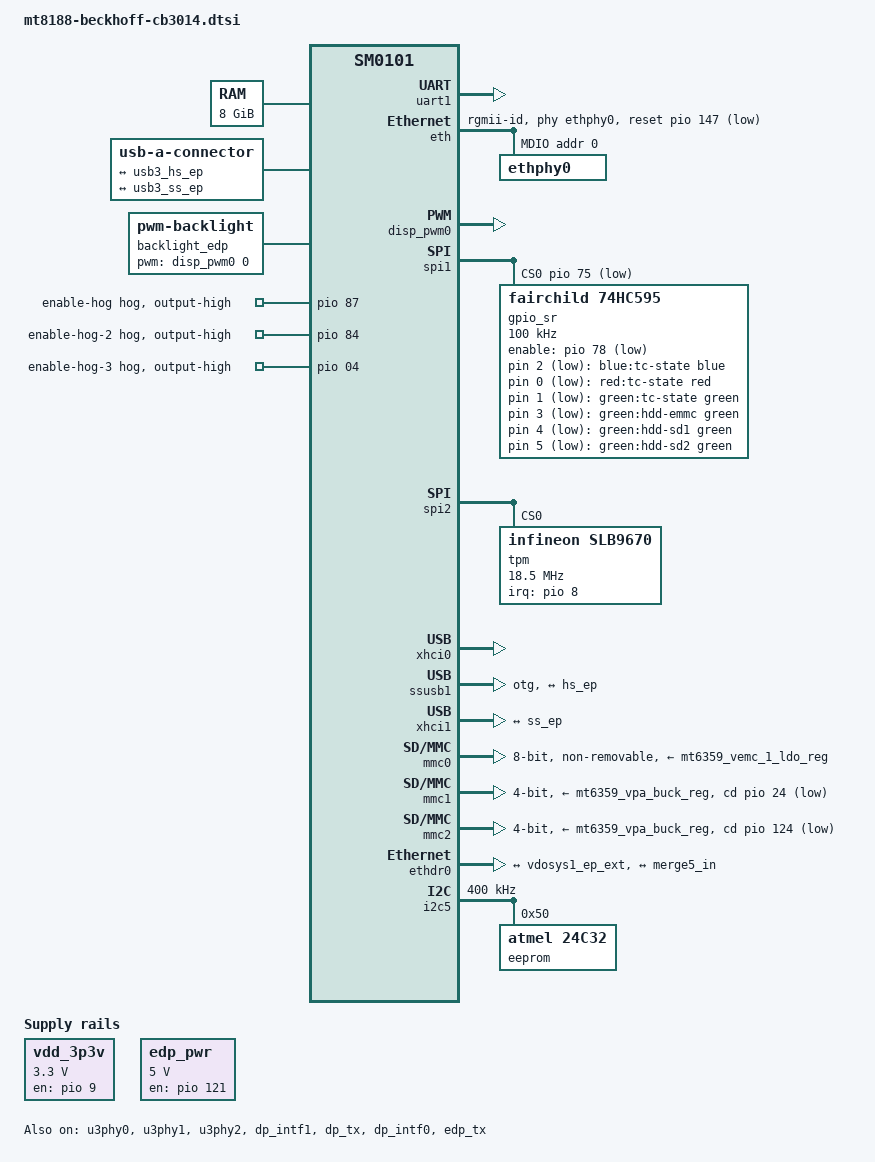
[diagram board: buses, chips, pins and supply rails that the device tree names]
// SPDX-License-Identifier: GPL-2.0 OR MIT
/*
 * Copyright (C) 2025 Beckhoff Automation GmbH & Co. KG
 */

#include "mt8188-beckhoff-sm0101.dtsi"

/*
 * SOM Interfaces used:
 *
 *		- UART 0 -> Debug
 *		- UART 1 -> RS232
 *		- SPI1 -> SN74AVC4T774 (LED gpio)
 *		- GPIO_TPM -> TPM
 *		- SPI2 -> TPM (SLB9672)
 *		- DP0 -> Display out
 *		- EDP -> EDP Port out
 *		- EMMC -> EMMC (MSDC 0)
 *		- SDIO 1 -> SD Card 1 (MSDC 1)
 *		- SDIO 2 -> SD Card 2 (MSDC 2)
 *		- GPIO 0 -> PC status (GPIO 00)
 *		- GPIO_1 -> PC on (GPIO 01)
 *		- GPIO_EXTPWR -> 3V3 enable (GPIO 09)
 *		- GPIO_PWRLED -> PWR LED (R/G/B)
 *		- USBP1 -> USB 3 Port
 *		- PCIE0 -> Realtek Phy
 *		- GBE0 -> B50212E
 */

/ {
	memory@40000000 {
		device_type = "memory";
		reg = <0 0x40000000 0x2 0x00000000>;
	};

	usb3_con: usb3-con {
		compatible = "usb-a-connector";
		label = "USB-A";
		//vbus-supply = <&usbp1_vbus>;
		ports {
			#address-cells = <1>;
			#size-cells = <0>;
			port@0 {
				reg = <0>;
				hs_ep: endpoint {
					remote-endpoint = <&usb3_hs_ep>;
				};
			};
			port@1 {
				reg = <1>;
				ss_ep: endpoint {
					remote-endpoint = <&usb3_ss_ep>;
				};
			};
		};
	};

	vdd_3p3v: vdd-3p3v {
		compatible = "regulator-fixed";
		regulator-name = "vdd-3.3V";
		regulator-min-microvolt = <3300000>;
		regulator-max-microvolt = <3300000>;
		regulator-boot-on;
		regulator-always-on;
		gpio = <&pio 9 GPIO_ACTIVE_HIGH>;
		enable-active-high;
	};

	edp_pwr: edp-pwr {
		compatible = "regulator-fixed";
		regulator-name = "edp-pwr";
		regulator-min-microvolt = <5000000>;
		regulator-max-microvolt = <5000000>;
		gpio = <&pio 121 GPIO_ACTIVE_HIGH>;
		enable-active-high;
	};

	backlight_edp: backlight-edp {
		compatible = "pwm-backlight";
		brightness-levels = <0 1023>;
		default-brightness-level = <576>;
		num-interpolated-steps = <1023>;
		//power-supply = <&reg_vsys>;
		pwms = <&disp_pwm0 0 500000>;
	};

	leds {
		compatible = "gpio-leds";
		status = "okay";
		tc-state-blue {
			function = LED_FUNCTION_STATUS;
			color = <LED_COLOR_ID_BLUE>;
			gpios = <&gpio_sr 2 GPIO_ACTIVE_LOW>;
			linux,default-trigger = "none";
			default-state = "off";
			label = "blue:tc-state";
		};

		tc-state-red {
			function = LED_FUNCTION_STATUS;
			color = <LED_COLOR_ID_RED>;
			gpios = <&gpio_sr 0 GPIO_ACTIVE_LOW>;
			linux,default-trigger = "none";
			default-state = "off";
			label = "red:tc-state";
		};

		tc-state-green {
			function = LED_FUNCTION_STATUS;
			color = <LED_COLOR_ID_GREEN>;
			gpios = <&gpio_sr 1 GPIO_ACTIVE_LOW>;
			linux,default-trigger = "none";
			default-state = "off";
			label = "green:tc-state";
		};

		hdd-emmc-green {
			function = LED_FUNCTION_DISK;
			color = <LED_COLOR_ID_GREEN>;
			gpios = <&gpio_sr 3 GPIO_ACTIVE_LOW>;
			linux,default-trigger = "mmc0";
			default-state = "off";
			label = "green:hdd-emmc";
		};

		hdd-sd1-green {
			function = LED_FUNCTION_DISK;
			color = <LED_COLOR_ID_GREEN>;
			gpios = <&gpio_sr 4 GPIO_ACTIVE_LOW>;
			linux,default-trigger = "mmc1";
			default-state = "off";
			label = "green:hdd-sd1";
		};
		hdd-sd2-green {
			function = LED_FUNCTION_DISK;
			color = <LED_COLOR_ID_GREEN>;
			gpios = <&gpio_sr 5 GPIO_ACTIVE_LOW>;
			linux,default-trigger = "mmc2";
			default-state = "off";
			label = "green:hdd-sd2";
		};
	};

};

&uart1 {
	pinctrl-0 = <&uart1_pins>;
	pinctrl-names = "default";
	status = "okay";
};

&pio {
	status = "okay";

	/* USBP1_EN */
	enable-hog {
		gpio-hog;
		gpios = <87 GPIO_ACTIVE_HIGH>;
		output-high;
	};

	/* USBP0_EN */
	enable-hog-2 {
		gpio-hog;
		gpios = <84 GPIO_ACTIVE_HIGH>;
		output-high;
	};

	/*
	* Disable the UPS by default, because in the current
	* hardware version it makes some problems like powering
	* off the network chip.
	*/
	enable-hog-3 {
		gpio-hog;
		gpios = <04 GPIO_ACTIVE_HIGH>;
		output-high;
	};
};


&eth {
	phy-mode ="rgmii-id";
	nvmem-cells = <&eth0_addr>;
	nvmem-cell-names = "mac-address";
	phy-handle = <&ethphy0>;
	pinctrl-names = "default", "sleep";
	pinctrl-0 = <&ethdefault>;
	pinctrl-1 = <&ethsleep>;
	mediatek,mac-wol;
	status = "okay";

	snps,reset-gpio = <&pio 147 GPIO_ACTIVE_LOW>;
	snps,reset-delays-us = <0 10000 10000>;

	mdio {
		compatible = "snps,dwmac-mdio";
		#address-cells = <1>;
		#size-cells = <0>;
		ethphy0: ethphy0@0 {
			reg = <0x0>;
			eee-broken-100tx;
			eee-broken-1000t;
		};
	};
};

&disp_pwm0 {
	pinctrl-names = "default";
	pinctrl-0 = <&disp_pwm0_pins>;
	status = "okay";
};

&spi1 {
	pinctrl-names = "default";
	pinctrl-0 = <&spi1_pins_default>;
	num-cs = <1>;
	status = "okay";
	cs-gpios = <&pio 75 GPIO_ACTIVE_LOW>;
	//mediatek,pad-select = <0>;
	gpio_sr: gpio_sr@0 {
			compatible = "fairchild,74hc595";
			reg = <0>;
			gpio-controller;
			#gpio-cells = <2>;
			registers-number = <1>;
			spi-max-frequency = <100000>;
			enable-gpios = <&pio 78 GPIO_ACTIVE_LOW>;
		};
};


&spi2 {
	pinctrl-names = "default";
	pinctrl-0 = <&spi2_pins_default>;
	status = "okay";
	label = "TPM";
	num-cs = <1>;
	tpm@0 {
		compatible = "infineon,slb9670", "tcg,tpm_tis-spi";
		reg = <0>;
		spi-max-frequency = <18500000>;
		interrupt-parent = <&pio>;
		interrupts = <8 IRQ_TYPE_LEVEL_LOW>;
		// reset-gpios = <&pio 10 GPIO_ACTIVE_LOW>; -> There is no Reset Logic in TPM Code
	};
};

&u3phy0 {
	status = "okay";
};

&u3phy1 {
	status = "okay";
};

&u3phy2 {
	status = "okay";
};


&xhci0 {
	status = "okay";
};

// USB Port 1 -> USB 3
&ssusb1 {
	dr_mode = "otg";
	usb-role-switch;
	wakeup-source;
	vusb33-supply = <&mt6359_vusb_ldo_reg>;
	status = "okay";

	port {
		usb3_hs_ep: endpoint {
			remote-endpoint = <&hs_ep>;
		};
	};
};

&xhci1 {
	status = "okay";
	vusb33-supply = <&mt6359_vusb_ldo_reg>;
	#address-cells = <1>;
	#size-cells = <0>;

	port {
		usb3_ss_ep: endpoint {
			remote-endpoint = <&ss_ep>;
		};
	};
};

&pio {

	dp_tx_hpd: dp-tx-hpd-pins {
		pins-dp-tx-hpd {
			pinmux = <PINMUX_GPIO46__FUNC_I0_DP_TX_HPD>;
		};
	};

	edp_tx_hpd: edp-tx-hpd-pins {
		pins-edp-tx-hpd {
			pinmux = <PINMUX_GPIO17__FUNC_I0_EDP_TX_HPD>,
			<PINMUX_GPIO26__FUNC_B_GPIO26>,
			<PINMUX_GPIO28__FUNC_B_GPIO28>,
			<PINMUX_GPIO45__FUNC_B_GPIO45>,
			<PINMUX_GPIO51__FUNC_B_GPIO51>
			;
		};
	};

	disp_pwm0_pins: disp-pwm0-pins {
		pins-pwm {
			pinmux = <PINMUX_GPIO29__FUNC_O_DISP_PWM0>;
		};
	};

	spi1_pins_default: spi1-default-pins {
		pins-bus {
			pinmux = <PINMUX_GPIO75__FUNC_B_GPIO75>,
				 <PINMUX_GPIO76__FUNC_O_SPIM1_CLK>,
				 <PINMUX_GPIO77__FUNC_B0_SPIM1_MOSI>,
				 <PINMUX_GPIO78__FUNC_B_GPIO78>;
			bias-disable;
		};
	};

	spi1_pins_sleep: spi1-sleep-pins {
		pins-bus {
			pinmux = <PINMUX_GPIO75__FUNC_B_GPIO75>,
				 <PINMUX_GPIO76__FUNC_B_GPIO76>,
				 <PINMUX_GPIO77__FUNC_B_GPIO77>,
				 <PINMUX_GPIO78__FUNC_B_GPIO78>;
			bias-pull-down;
			input-enable;
		};
	};

	spi2_pins_default: spi2-default-pins {
		pins-bus {
			pinmux = <PINMUX_GPIO79__FUNC_O_SPIM2_CSB>,
				 <PINMUX_GPIO80__FUNC_O_SPIM2_CLK>,
				 <PINMUX_GPIO81__FUNC_B0_SPIM2_MOSI>,
				 <PINMUX_GPIO82__FUNC_B0_SPIM2_MISO>;
			bias-disable;
		};
		pins-rst {
			pinmux = <PINMUX_GPIO10__FUNC_B_GPIO10>;
			bias-disable;
			output-high;
		};
	};

	spi2_pins_sleep: spi2-sleep-pins {
		pins-bus {
			pinmux =  <PINMUX_GPIO79__FUNC_B_GPIO79>,
				 <PINMUX_GPIO80__FUNC_B_GPIO80>,
				 <PINMUX_GPIO81__FUNC_B_GPIO81>;
			bias-pull-down;
			input-enable;
		};
		pins-bus2 {
			pinmux =  <PINMUX_GPIO82__FUNC_B_GPIO82>;
			bias-pull-up;
			input-enable;
		};
	};

	uart0_pins: uart0-pins {
		pins {
			pinmux = <PINMUX_GPIO31__FUNC_O_UTXD0>,
				 <PINMUX_GPIO32__FUNC_I1_URXD0>;
			bias-pull-up;
		};
	};
	uart1_pins: uart1-pins {
		pins {
			pinmux = <PINMUX_GPIO18__FUNC_O_UTXD1>,
					<PINMUX_GPIO19__FUNC_I1_URXD1>,
					<PINMUX_GPIO20__FUNC_O_URTS1>,
				 <PINMUX_GPIO21__FUNC_I1_UCTS1>;
			bias-pull-up;
		};
	};

	ethdefault: ethdefault {
		pins-cc {
			pinmux = <PINMUX_GPIO139__FUNC_B0_GBE_TXC>,
				 <PINMUX_GPIO140__FUNC_I0_GBE_RXC>,
				 <PINMUX_GPIO141__FUNC_I0_GBE_RXDV>,
				 <PINMUX_GPIO142__FUNC_O_GBE_TXEN>;
			drive-strength = <MTK_DRIVE_8mA>;
		};

		pins-mdio {
			pinmux = <PINMUX_GPIO143__FUNC_O_GBE_MDC>,
				 <PINMUX_GPIO144__FUNC_B1_GBE_MDIO>;
			drive-strength = <MTK_DRIVE_8mA>;
			input-enable;
		};

		pins-rxd {
			pinmux = <PINMUX_GPIO135__FUNC_I0_GBE_RXD3>,
				 <PINMUX_GPIO136__FUNC_I0_GBE_RXD2>,
				 <PINMUX_GPIO137__FUNC_I0_GBE_RXD1>,
				 <PINMUX_GPIO138__FUNC_I0_GBE_RXD0>;
			drive-strength = <MTK_DRIVE_8mA>;
		};

		pins-txd {
			pinmux = <PINMUX_GPIO131__FUNC_O_GBE_TXD3>,
				 <PINMUX_GPIO132__FUNC_O_GBE_TXD2>,
				 <PINMUX_GPIO133__FUNC_O_GBE_TXD1>,
				 <PINMUX_GPIO134__FUNC_O_GBE_TXD0>,
				 <PINMUX_GPIO147__FUNC_B_GPIO147>;
			drive-strength = <MTK_DRIVE_8mA>;
		};
	};

	ethsleep: ethsleep {
		pins-cc {
			pinmux = <PINMUX_GPIO139__FUNC_B_GPIO139>,
				 <PINMUX_GPIO140__FUNC_B_GPIO140>,
				 <PINMUX_GPIO141__FUNC_B_GPIO141>,
				 <PINMUX_GPIO142__FUNC_B_GPIO142>;
		};

		pins-mdio {
			pinmux = <PINMUX_GPIO143__FUNC_B_GPIO143>,
				 <PINMUX_GPIO144__FUNC_B_GPIO144>;
			input-disable;
			bias-disable;
		};

		pins-rxd {
			pinmux = <PINMUX_GPIO135__FUNC_B_GPIO135>,
				 <PINMUX_GPIO136__FUNC_B_GPIO136>,
				 <PINMUX_GPIO137__FUNC_B_GPIO137>,
				 <PINMUX_GPIO138__FUNC_B_GPIO138>;
		};

		pins-txd {
			pinmux = <PINMUX_GPIO131__FUNC_B_GPIO131>,
				 <PINMUX_GPIO132__FUNC_B_GPIO132>,
				 <PINMUX_GPIO133__FUNC_B_GPIO133>,
				 <PINMUX_GPIO134__FUNC_B_GPIO134>;
		};
	};

	i2c5_pin: i2c5-pin {
		pins-bus {
			pinmux = <PINMUX_GPIO66__FUNC_B1_SDA5>,
				 <PINMUX_GPIO65__FUNC_B1_SCL5>;
			bias-pull-up = <MTK_PULL_SET_RSEL_011>;
			mediatek,drive-strength-adv = <7>;
		};
	};

	mmc2_pins_default: mmc2default {
		pins-cmd-dat {
			pinmux = <PINMUX_GPIO169__FUNC_B1_MSDC2_CMD>,
				 <PINMUX_GPIO171__FUNC_B1_MSDC2_DAT0>,
				 <PINMUX_GPIO172__FUNC_B1_MSDC2_DAT1>,
				 <PINMUX_GPIO173__FUNC_B1_MSDC2_DAT2>,
				 <PINMUX_GPIO174__FUNC_B1_MSDC2_DAT3>;
			input-enable;
			drive-strength = <MTK_DRIVE_6mA>;
			bias-pull-up = <MTK_PUPD_SET_R1R0_01>;
		};

		pins-clk {
			pinmux = <PINMUX_GPIO170__FUNC_B1_MSDC2_CLK>;
			drive-strength = <MTK_DRIVE_6mA>;
			bias-pull-down = <MTK_PUPD_SET_R1R0_10>;
		};

		pins-insert {
			pinmux = <PINMUX_GPIO124__FUNC_B_GPIO124>;
			bias-pull-up;
		};
	};

	mmc2_pins_uhs: mmc2uhs {
		pins-cmd-dat {
			pinmux = <PINMUX_GPIO169__FUNC_B1_MSDC2_CMD>,
				 <PINMUX_GPIO171__FUNC_B1_MSDC2_DAT0>,
				 <PINMUX_GPIO172__FUNC_B1_MSDC2_DAT1>,
				 <PINMUX_GPIO173__FUNC_B1_MSDC2_DAT2>,
				 <PINMUX_GPIO174__FUNC_B1_MSDC2_DAT3>;
			input-enable;
			drive-strength = <MTK_DRIVE_8mA>;
			bias-pull-up = <MTK_PUPD_SET_R1R0_01>;
		};

		pins-clk {
			pinmux = <PINMUX_GPIO170__FUNC_B1_MSDC2_CLK>;
			drive-strength = <MTK_DRIVE_8mA>;
			bias-pull-down = <MTK_PUPD_SET_R1R0_10>;
		};

		pins-insert {
			pinmux = <PINMUX_GPIO124__FUNC_B_GPIO124>;
			bias-pull-up;
					};
	};

	mmc1_pins_default: mmc1default {
		pins-cmd-dat {
			pinmux = <PINMUX_GPIO163__FUNC_B1_MSDC1_CMD>,
				 <PINMUX_GPIO165__FUNC_B1_MSDC1_DAT0>,
				 <PINMUX_GPIO166__FUNC_B1_MSDC1_DAT1>,
				 <PINMUX_GPIO167__FUNC_B1_MSDC1_DAT2>,
				 <PINMUX_GPIO168__FUNC_B1_MSDC1_DAT3>;
			input-enable;
			drive-strength = <MTK_DRIVE_6mA>;
			bias-pull-up = <MTK_PUPD_SET_R1R0_01>;
		};

		pins-clk {
			pinmux = <PINMUX_GPIO164__FUNC_B1_MSDC1_CLK>;
			drive-strength = <MTK_DRIVE_6mA>;
			bias-pull-down = <MTK_PUPD_SET_R1R0_10>;
		};

		pins-insert {
			pinmux = <PINMUX_GPIO24__FUNC_B_GPIO24>;
			bias-pull-up;
		};
	};

	mmc1_pins_uhs: mmc1uhs {
		pins-cmd-dat {
			pinmux = <PINMUX_GPIO163__FUNC_B1_MSDC1_CMD>,
				 <PINMUX_GPIO165__FUNC_B1_MSDC1_DAT0>,
				 <PINMUX_GPIO166__FUNC_B1_MSDC1_DAT1>,
				 <PINMUX_GPIO167__FUNC_B1_MSDC1_DAT2>,
				 <PINMUX_GPIO168__FUNC_B1_MSDC1_DAT3>;
			input-enable;
			drive-strength = <MTK_DRIVE_8mA>;
			bias-pull-up = <MTK_PUPD_SET_R1R0_01>;
		};

		pins-clk {
			pinmux = <PINMUX_GPIO164__FUNC_B1_MSDC1_CLK>;
			drive-strength = <MTK_DRIVE_8mA>;
			bias-pull-down = <MTK_PUPD_SET_R1R0_10>;
		};

		pins-insert {
			pinmux = <PINMUX_GPIO24__FUNC_B_GPIO24>;
			bias-pull-up;
		};
	};

	mmc0_default_pins: mmc0-default-pins {
		pins-cmd-dat {
			pinmux = <PINMUX_GPIO161__FUNC_B1_MSDC0_DAT0>,
				 <PINMUX_GPIO160__FUNC_B1_MSDC0_DAT1>,
				 <PINMUX_GPIO159__FUNC_B1_MSDC0_DAT2>,
				 <PINMUX_GPIO158__FUNC_B1_MSDC0_DAT3>,
				 <PINMUX_GPIO154__FUNC_B1_MSDC0_DAT4>,
				 <PINMUX_GPIO153__FUNC_B1_MSDC0_DAT5>,
				 <PINMUX_GPIO152__FUNC_B1_MSDC0_DAT6>,
				 <PINMUX_GPIO151__FUNC_B1_MSDC0_DAT7>,
				 <PINMUX_GPIO156__FUNC_B1_MSDC0_CMD>;
			input-enable;
			drive-strength = <6>;
			bias-pull-up = <MTK_PUPD_SET_R1R0_01>;
		};

		pins-clk {
			pinmux = <PINMUX_GPIO157__FUNC_B1_MSDC0_CLK>;
			drive-strength = <6>;
			bias-pull-down = <MTK_PUPD_SET_R1R0_10>;
		};

		pins-rst {
			pinmux = <PINMUX_GPIO155__FUNC_O_MSDC0_RSTB>;
			drive-strength = <6>;
			bias-pull-up = <MTK_PUPD_SET_R1R0_01>;
		};
	};

	mmc0_uhs_pins: mmc0-uhs-pins {
		pins-cmd-dat {
			pinmux = <PINMUX_GPIO161__FUNC_B1_MSDC0_DAT0>,
				 <PINMUX_GPIO160__FUNC_B1_MSDC0_DAT1>,
				 <PINMUX_GPIO159__FUNC_B1_MSDC0_DAT2>,
				 <PINMUX_GPIO158__FUNC_B1_MSDC0_DAT3>,
				 <PINMUX_GPIO154__FUNC_B1_MSDC0_DAT4>,
				 <PINMUX_GPIO153__FUNC_B1_MSDC0_DAT5>,
				 <PINMUX_GPIO152__FUNC_B1_MSDC0_DAT6>,
				 <PINMUX_GPIO151__FUNC_B1_MSDC0_DAT7>,
				 <PINMUX_GPIO156__FUNC_B1_MSDC0_CMD>;
			input-enable;
			drive-strength = <8>;
			bias-pull-up = <MTK_PUPD_SET_R1R0_01>;
		};

		pins-clk-ds {
			pinmux = <PINMUX_GPIO157__FUNC_B1_MSDC0_CLK>,
				 <PINMUX_GPIO162__FUNC_B0_MSDC0_DSL>;
			drive-strength = <8>;
			bias-pull-down = <MTK_PUPD_SET_R1R0_10>;
		};

		pins-rst {
			pinmux = <PINMUX_GPIO155__FUNC_O_MSDC0_RSTB>;
			drive-strength = <8>;
			bias-pull-up = <MTK_PUPD_SET_R1R0_01>;
		};
	};

	disp_en_pins_default: disp-en-default-pins {
		pins-hpd {
			pinmux = <PINMUX_GPIO121__FUNC_B_GPIO121>;
			bias-pull-up;
		};
	};
};

&mmc0 {
	status = "okay";
	pinctrl-names = "default", "state_uhs";
	pinctrl-0 = <&mmc0_default_pins>;
	pinctrl-1 = <&mmc0_uhs_pins>;
	bus-width = <8>;
	max-frequency = <200000000>;
	cap-mmc-highspeed;
	mmc-hs200-1_8v;
	mmc-hs400-1_8v;
	supports-cqe;
	cap-mmc-hw-reset;
	no-sdio;
	no-sd;
	hs400-ds-delay = <0x1481b>;
	vmmc-supply = <&mt6359_vemc_1_ldo_reg>;
	vqmmc-supply = <&mt6359_vufs_ldo_reg>;
	non-removable;
};

&mmc1 {
	status = "okay";
	pinctrl-names = "default", "state_uhs";
	pinctrl-0 = <&mmc1_pins_default>;
	pinctrl-1 = <&mmc1_pins_uhs>;
	bus-width = <4>;
	max-frequency = <200000000>;
	cap-sd-highspeed;
	sd-uhs-sdr50;
	sd-uhs-sdr104;
	no-mmc;
	no-sdio;
	cd-gpios = <&pio 24 GPIO_ACTIVE_LOW>;
	vmmc-supply = <&mt6359_vpa_buck_reg>;
	vqmmc-supply = <&mt6359_vsim1_ldo_reg>;
};

&mmc2 {
	status = "okay";
	pinctrl-names = "default", "state_uhs";
	pinctrl-0 = <&mmc2_pins_default>;
	pinctrl-1 = <&mmc2_pins_uhs>;
	bus-width = <4>;
	max-frequency = <200000000>;
	cap-sd-highspeed;
	sd-uhs-sdr50;
	sd-uhs-sdr104;
	no-mmc;
	no-sdio;
	cd-gpios = <&pio 124 GPIO_ACTIVE_LOW>;
	vmmc-supply = <&mt6359_vpa_buck_reg>;
	vqmmc-supply = <&mt6359_vsim2_ldo_reg>;
};

// GFX

&dp_intf1 {
	status = "okay";

	ports {
		#address-cells = <1>;
		#size-cells = <0>;

		port@0 {
			#address-cells = <1>;
			#size-cells = <0>;
			reg = <0>;

			dp_intf1_in: endpoint@1 {
				reg = <1>;
				remote-endpoint = <&merge5_out>;
			};
		};

		port@1 {
			#address-cells = <1>;
			#size-cells = <0>;
			reg = <1>;

			dp_intf1_out: endpoint@1 {
				reg = <1>;
				//remote-endpoint = <&edp_in>;
				remote-endpoint = <&dptx_in>;
			};
		};
	};
};

&dp_tx {
	pinctrl-names = "default";
	pinctrl-0 = <&dp_tx_hpd>;
	#sound-dai-cells = <0>;
	status = "okay";

	ports {
		#address-cells = <1>;
		#size-cells = <0>;

		port@0 {
			reg = <0>;
			dptx_in: endpoint {
				remote-endpoint = <&dp_intf1_out>;
			};
		};

		port@1 {
			reg = <1>;
			dptx_out: endpoint {
				data-lanes = <0 1 2 3>;
			};
		};
	};
};

&merge5 {
	ports {
		#address-cells = <1>;
		#size-cells = <0>;

		port@0 {
			#address-cells = <1>;
			#size-cells = <0>;
			reg = <0>;

			merge5_in: endpoint@1 {
				reg = <1>;
				remote-endpoint = <&ethdr0_out>;
			};
		};

		port@1 {
			#address-cells = <1>;
			#size-cells = <0>;
			reg = <1>;

			merge5_out: endpoint@1 {
				reg = <1>;
				remote-endpoint = <&dp_intf1_in>;
			};
		};
	};
};

&ethdr0 {
	ports {
		#address-cells = <1>;
		#size-cells = <0>;

		port@0 {
			#address-cells = <1>;
			#size-cells = <0>;
			reg = <0>;

			ethdr0_in: endpoint@1 {
				reg = <1>;
				remote-endpoint = <&vdosys1_ep_ext>;
			};
		};

		port@1 {
			#address-cells = <1>;
			#size-cells = <0>;
			reg = <1>;

			ethdr0_out: endpoint@1 {
				reg = <1>;
				remote-endpoint = <&merge5_in>;
			};
		};
	};
};

&vdosys1 {
	port {
		#address-cells = <1>;
		#size-cells = <0>;

		vdosys1_ep_ext: endpoint@1 {
			reg = <1>;
			remote-endpoint = <&ethdr0_in>;
		};
	};
};

&dp_intf0 {
	status = "okay";

	ports {
		#address-cells = <1>;
		#size-cells = <0>;

		port@0 {
			reg = <0>;
			dp_intf0_in: endpoint {
				remote-endpoint = <&merge0_out>;
			};
		};

		port@1 {
			reg = <1>;
			dp_intf0_out: endpoint {
				//remote-endpoint = <&dptx_in>;
				remote-endpoint = <&edp_in>;
			};
		};
	};
};

&edp_tx {
	status = "okay";

	pinctrl-names = "default";
	pinctrl-0 = <&edp_tx_hpd>;

	ports {
		#address-cells = <1>;
		#size-cells = <0>;

		port@0 {
			reg = <0>;
			edp_in: endpoint {
				remote-endpoint = <&dp_intf0_out>;
			};
		};

		port@1 {
			reg = <1>;
			edp_out: endpoint {
				data-lanes = <0 1>;
				remote-endpoint = <&panel_in>;
			};
		};
	};

	aux-bus {
		panel {
			compatible = "edp-panel";
			backlight-aux-set-override;
			backlight-brightness-byte-count-override;
//			power-supply = <&edp_pwr>;
//			backlight = <&disp_pwm0>;
			port {
				panel_in: endpoint {
					remote-endpoint = <&edp_out>;
				};
			};
		};
	};
};

&merge0 {
	ports {
		#address-cells = <1>;
		#size-cells = <0>;

		port@0 {
			reg = <0>;
			merge0_in: endpoint {
				remote-endpoint = <&dsc0_out>;
			};
		};

		port@1 {
			reg = <1>;
			merge0_out: endpoint {
				remote-endpoint = <&dp_intf0_in>;
			};
		};
	};
};

&dsc0 {
	ports {
		#address-cells = <1>;
		#size-cells = <0>;

		port@0 {
			reg = <0>;
			dsc0_in: endpoint {
				remote-endpoint = <&dither0_out>;
			};
		};

		port@1 {
			reg = <1>;
			dsc0_out: endpoint {
				remote-endpoint = <&merge0_in>;
			};
		};
	};
};

&dither0_out {
	remote-endpoint = <&dsc0_in>;
};

&vdosys0 {
	port {
		#address-cells = <1>;
		#size-cells = <0>;

		vdosys0_ep_main: endpoint@0 {
			reg = <0>;
			remote-endpoint = <&ovl0_in>;
		};
	};
};

&ovl0_in {
	remote-endpoint = <&vdosys0_ep_main>;
};

&postmask0_in {
	remote-endpoint = <&gamma0_out>;
};

&postmask0_out {
	remote-endpoint = <&dither0_in>;
};

&gamma0_out {
	remote-endpoint = <&postmask0_in>;
};

&dither0_in {
	remote-endpoint = <&postmask0_out>;
};

&i2c5 {
	pinctrl-names = "default";
	pinctrl-0 = <&i2c5_pin>;
	clock-frequency = <400000>;
	status = "okay";

	/*
	 * lvds-bridge@20 {
		pinctrl-names = "default";
		pinctrl-0 = <&disp_en_pins_default>;
		compatible = "nxp,ptn3460";
		reg = <0x20>;
		powerdown-gpios = <&pio 121 GPIO_ACTIVE_HIGH>;
		reset-gpios = <&gpio_sr 7 GPIO_ACTIVE_LOW>; // Dummy value Driver will fail if not set.
		//edid-emulation = <7>;

		ports {
			#address-cells = <1>;
			#size-cells = <0>;
			port@1 {
				reg = <1>;
				bridge_in: endpoint {
					remote-endpoint = <&edp_out>;
				};
			};

			port@0 {
				reg = <0>;
				bridge_out: endpoint {
					remote-endpoint = <&panel_in>;
				};
			};
		};
	};
	*/

	eeprom@50 {
		status = "okay";
		compatible = "atmel,24c32";
		pagesize = <32>;
		reg = <0x50>;
	};

};
